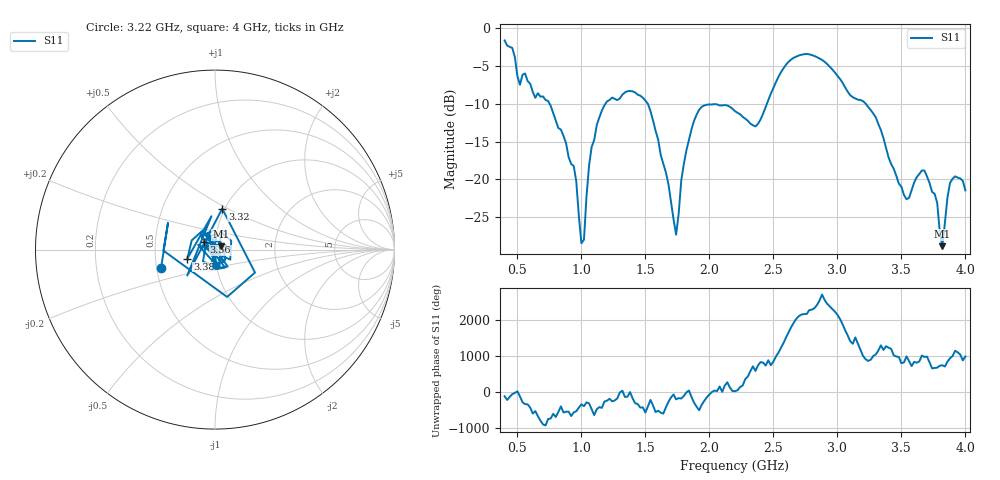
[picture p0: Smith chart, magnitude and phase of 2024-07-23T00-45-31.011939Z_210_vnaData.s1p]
!Created with skrf (http://scikit-rf.org).
# Hz S RI R 50.0
!freq ReS11 ImS11
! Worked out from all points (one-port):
!   181 points, 400 MHz to 4 GHz, reference 50 ohm
!   lowest |S11| = -28.8 dB at 3.82 GHz (marker M1), VSWR 1.08, Z = 53.2 + j1.87 ohm
!   |S11| at or under -10 dB: 751 MHz to 1.188 GHz (437.5 MHz wide, 45.1 % of centre); 1.518 GHz to 2.449 GHz (931 MHz wide, 46.9 % of centre); 3.221 GHz to end of sweep
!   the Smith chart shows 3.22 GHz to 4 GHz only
!   S11 on the Smith chart (normalised r, x): 3.22 GHz: 0.53, -0.12; 3.32 GHz: 0.97, +0.47; 3.38 GHz: 0.73, -0.08; 3.56 GHz: 0.88, +0.08; 4 GHz: 1.00, -0.17
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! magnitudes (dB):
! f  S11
! 400 MHz  -1.7
! 520 MHz  -7.5
! 560 MHz  -6.0
! 860 MHz  -14.3
! 940 MHz  -18.2
! 1 GHz  -28.4
! 1.02 GHz  -27.9
! 1.06 GHz  -18.1
! 1.12 GHz  -12.8
! 1.3 GHz  -9.3
! 1.52 GHz  -10.0
! 1.74 GHz  -27.3
! 1.76 GHz  -24.5
! 1.82 GHz  -16.2
! 1.92 GHz  -10.8
! 2.2 GHz  -11.0
! 2.36 GHz  -13.0
! 2.66 GHz  -3.9
! 3.1 GHz  -8.9
! 3.22 GHz  -10.0
! 3.32 GHz  -12.7
! 3.38 GHz  -15.8
! 3.56 GHz  -22.4
! 3.68 GHz  -18.8
! 3.78 GHz  -23.1
! 3.82 GHz  -28.8
! 3.88 GHz  -20.5
! 4 GHz  -21.4
